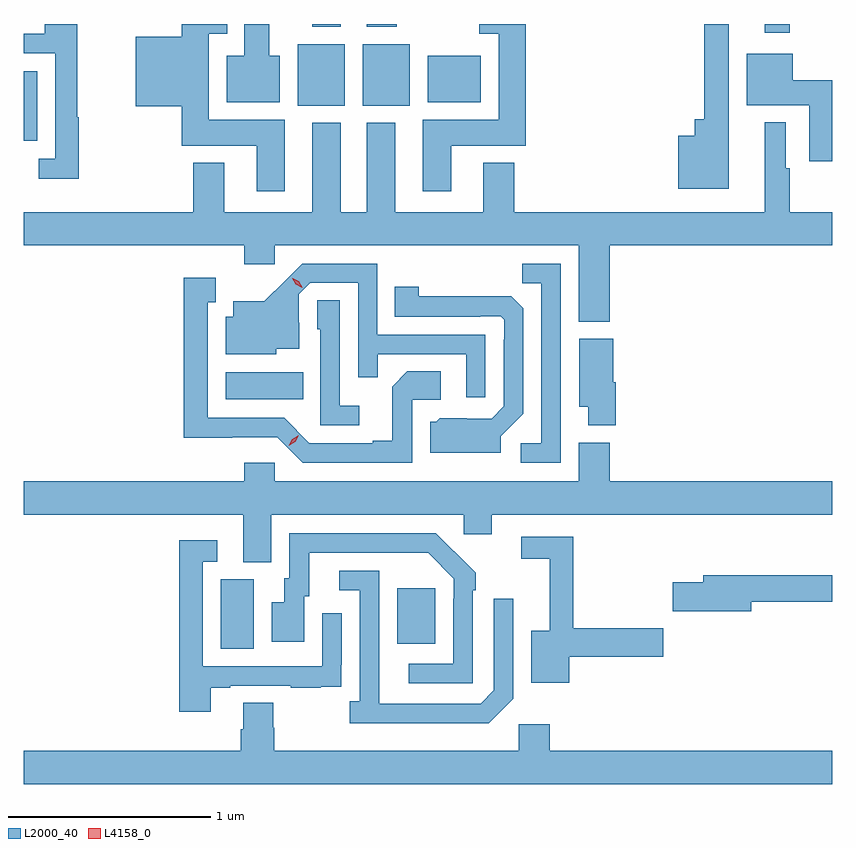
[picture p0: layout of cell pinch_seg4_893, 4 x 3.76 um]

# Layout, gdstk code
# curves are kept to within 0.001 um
import gdstk
lib = gdstk.Library(unit=1e-6, precision=1e-09)
def R(c, l, rs):  # rectangles x0, y0, x1, y1
    for r in rs: c.add(gdstk.rectangle(r[:2], r[2:], *l))
def P(c, l, *ps):  # polygons
    for p in ps: c.add(gdstk.Polygon(p, *l))
L2000_40 = (2000, 40)
L4158_0 = (4158, 0)

pinch_seg4_893 = lib.new_cell('pinch_seg4_893')
R(pinch_seg4_893, L2000_40, [(754.508,824.128,754.672,824.472), (755.381,824.153,755.569,824.428), (754.532,825.362,754.916,825.496), (753.533,826.64,753.601,826.984), (754.889,826.814,755.122,827.119), (755.21,826.814,755.443,827.119), (755.531,826.832,755.794,827.062), (757.199,827.175,757.321,827.218), (754.961,827.204,755.101,827.218), (755.231,827.204,755.379,827.218)])
P(pinch_seg4_893, L2000_40, [(757.021,827.218),(756.9,827.218),(756.9,826.747),(756.851,826.747),(756.851,826.666),(756.77,826.666),(756.77,826.403),(757.021,826.403)],
  [(755.647,826.616),(756.017,826.616),(756.017,827.218),(755.787,827.218),(755.787,827.171),(755.882,827.171),(755.882,826.744),(755.507,826.744),(755.507,826.392),(755.647,826.392)],
  [(754.825,826.744),(754.45,826.744),(754.45,827.171),(754.54,827.171),(754.54,827.218),(754.316,827.218),(754.316,827.155),(754.088,827.155),(754.088,826.811),(754.316,826.811),(754.316,826.616),(754.685,826.616),(754.685,826.392),(754.825,826.392)],
  [(754.801,827.062),(754.747,827.062),(754.747,827.218),(754.625,827.218),(754.625,827.062),(754.538,827.062),(754.538,826.832),(754.801,826.832)],
  [(753.806,826.758),(753.799,826.758),(753.799,827.218),(753.638,827.218),(753.638,827.169),(753.533,827.169),(753.533,827.073),(753.69,827.073),(753.69,826.551),(753.609,826.551),(753.609,826.454),(753.806,826.454)],
  [(757.533,826.94),(757.336,826.94),(757.336,827.071),(757.109,827.071),(757.109,826.817),(757.418,826.817),(757.418,826.539),(757.533,826.539)],
  [(756.431,826.124),(757.533,826.124),(757.533,826.288),(757.321,826.288),(757.321,826.505),(757.303,826.505),(757.303,826.732),(757.199,826.732),(757.199,826.288),(755.96,826.288),(755.96,826.531),(755.807,826.531),(755.807,826.288),(755.371,826.288),(755.371,826.729),(755.231,826.729),(755.231,826.288),(755.101,826.288),(755.101,826.729),(754.961,826.729),(754.961,826.288),(754.525,826.288),(754.525,826.531),(754.373,826.531),(754.373,826.288),(753.533,826.288),(753.533,826.124),(754.625,826.124),(754.625,826.029),(754.776,826.029),(754.776,826.124),(756.278,826.124),(756.278,825.746),(756.431,825.746)],
  [(756.189,826.032),(755.998,826.032),(755.998,825.937),(756.093,825.937),(756.093,825.144),(755.991,825.144),(755.991,825.048),(756.189,825.048)],
  [(755.817,825.681),(755.283,825.681),(755.283,826.032),(754.91,826.032),(754.723,825.847),(754.571,825.847),(754.571,825.771),(754.532,825.771),(754.532,825.584),(754.782,825.584),(754.782,825.611),(754.897,825.611),(754.897,825.74),(754.893,825.74),(754.893,825.882),(754.95,825.939),(755.187,825.939),(755.187,825.472),(755.285,825.472),(755.285,825.585),(755.721,825.585),(755.721,825.372),(755.817,825.372)],
  [(755.454,825.36),(755.596,825.36),(755.596,825.5),(755.431,825.5),(755.355,825.424),(755.355,825.157),(755.261,825.157),(755.261,825.144),(754.947,825.144),(754.821,825.27),(754.444,825.27),(754.444,825.843),(754.483,825.843),(754.483,825.964),(754.326,825.964),(754.326,825.173),(754.788,825.174),(754.914,825.048),(755.454,825.048)],
  [(755.893,825.18),(756.003,825.29),(756.003,825.812),(755.944,825.871),(755.487,825.872),(755.487,825.919),(755.368,825.919),(755.368,825.771),(755.792,825.771),(755.792,825.774),(755.892,825.774),(755.91,825.756),(755.91,825.656),(755.907,825.656),(755.907,825.327),(755.847,825.267),(755.59,825.268),(755.574,825.252),(755.543,825.252),(755.543,825.098),(755.893,825.098)],
  [(755.194,825.331),(755.097,825.331),(755.097,825.851),(754.986,825.851),(754.986,825.708),(755.001,825.708),(755.001,825.234),(755.194,825.234)],
  [(756.461,825.447),(756.448,825.447),(756.448,825.661),(756.281,825.661),(756.281,825.326),(756.326,825.326),(756.326,825.233),(756.461,825.233)],
  [(754.759,824.792),(755.709,824.792),(755.709,824.694),(755.848,824.694),(755.848,824.792),(757.533,824.792),(757.533,824.956),(756.431,824.956),(756.431,825.148),(756.278,825.148),(756.278,824.956),(754.776,824.956),(754.776,825.049),(754.625,825.049),(754.625,824.956),(753.533,824.956),(753.533,824.792),(754.619,824.792),(754.619,824.557),(754.759,824.557)],
  [(755.754,824.417),(755.769,824.417),(755.769,824.505),(755.572,824.7),(754.848,824.7),(754.848,824.478),(754.823,824.478),(754.823,824.359),(754.76,824.359),(754.76,824.163),(754.921,824.163),(754.921,824.388),(754.945,824.388),(754.945,824.604),(755.533,824.604),(755.661,824.475),(755.661,824.375),(755.658,824.375),(755.658,824.055),(755.439,824.055),(755.439,823.959),(755.754,823.959)],
  [(756.232,824.089),(756.697,824.089),(756.697,824.231),(756.251,824.231),(756.251,824.682),(755.994,824.682),(755.994,824.574),(756.134,824.574),(756.134,824.218),(756.044,824.218),(756.044,823.961),(756.232,823.961)],
  [(754.459,823.935),(754.555,823.935),(754.555,823.947),(754.855,823.947),(754.855,823.935),(755.003,823.935),(755.003,823.941),(755.105,823.941),(755.105,824.05),(755.106,824.05),(755.106,824.305),(755.01,824.305),(755.01,824.043),(754.419,824.043),(754.419,824.559),(754.492,824.559),(754.492,824.665),(754.303,824.665),(754.303,823.818),(754.459,823.818)],
  [(755.955,823.881),(755.955,824.377),(755.859,824.377),(755.859,823.923),(755.793,823.857),(755.293,823.857),(755.292,824.514),(755.094,824.514),(755.094,824.418),(755.196,824.418),(755.196,823.87),(755.145,823.87),(755.145,823.76),(755.834,823.76)],
  [(757.132,824.362),(757.533,824.362),(757.533,824.491),(756.893,824.491),(756.893,824.457),(756.744,824.457),(756.744,824.315),(757.132,824.315)],
  [(757.533,823.624),(756.134,823.624),(756.134,823.756),(755.982,823.756),(755.982,823.624),(754.772,823.624),(754.772,823.737),(754.767,823.737),(754.767,823.862),(754.619,823.862),(754.619,823.73),(754.607,823.73),(754.607,823.624),(753.533,823.624),(753.533,823.46),(757.533,823.46)])
P(pinch_seg4_893, L4158_0, [(754.91,825.915),(754.879,825.931),(754.862,825.961),(754.862,825.961),(754.863,825.961),(754.893,825.946),(754.91,825.916),(754.91,825.915)],
  [(754.844,825.133),(754.844,825.133),(754.861,825.165),(754.893,825.184),(754.893,825.184),(754.893,825.184),(754.876,825.152),(754.844,825.133)])

lib.write_gds('pinch_seg4_893.gds')
